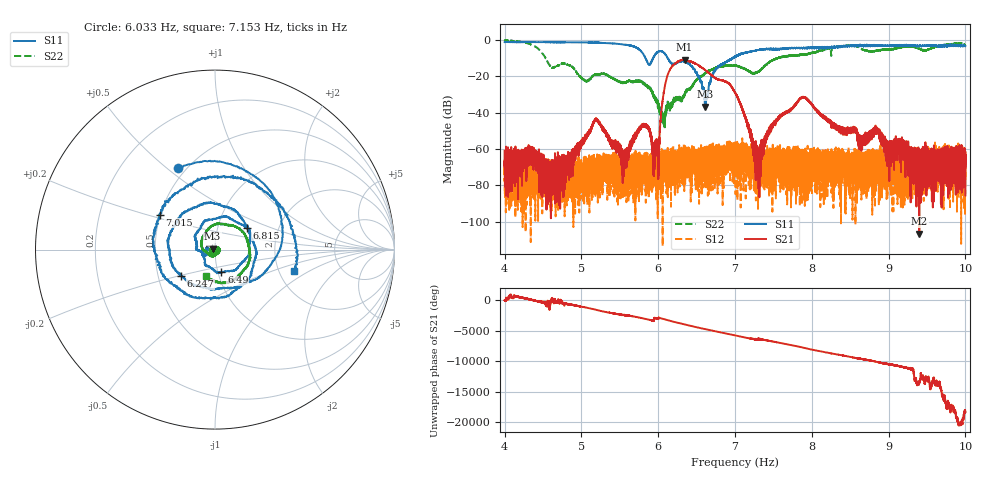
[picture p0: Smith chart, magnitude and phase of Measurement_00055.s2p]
!Created with skrf (http://scikit-rf.org).
# Hz S RI R 50.0
!freq ReS11 ImS11 ReS21 ImS21 ReS12 ImS12 ReS22 ImS22
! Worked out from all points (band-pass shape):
!   14001 points, 4 Hz to 10 Hz, reference 50 ohm
!   highest |S21| = -10.73 dB at 6.343 Hz (marker M1); lowest = -106.6 dB at 9.4 Hz (marker M2)
!   |S21| within 3 dB of the highest: 6.197 Hz to 6.52 Hz (322.8 mHz wide, 5.08 % of centre)
!   lowest |S11| = -36.7 dB at 6.61 Hz (marker M3), VSWR 1.03, Z = 48.6 + j0.484 ohm
!   |S11| at or under -10 dB: 5.835 Hz to 5.932 Hz (96.87 mHz wide, 1.65 % of centre); 5.932199 Hz to 5.932509 Hz (310.4 uHz wide, 0.00523 % of centre); 6.124 Hz to 6.962 Hz (837.5 mHz wide, 12.8 % of centre)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
!   |S22| runs from -48.0 to -0.2 dB; largest |S21 - S12| = 0.29
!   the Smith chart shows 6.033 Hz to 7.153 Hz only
!   S11 on the Smith chart (normalised r, x): 6.033 Hz: 0.45, +0.54; 6.247 Hz: 0.65, -0.20; 6.49 Hz: 1.04, -0.27; 6.815 Hz: 1.37, +0.35; 7.015 Hz: 0.49, +0.22; 7.153 Hz: 2.41, -0.74
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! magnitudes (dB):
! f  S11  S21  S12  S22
! 4 Hz  -1.1  -60.8  -70.3  -0.2
! 4.621 Hz  -1.1  -77.7  -79.0  -15.2
! 5 Hz  -1.3  -55.7  -69.4  -20.7
! 5.192 Hz  -1.4  -43.4  -67.4  -18.9
! 5.559 Hz  -2.4  -69.6  -79.3  -23.4
! 5.809 Hz  -7.9  -46.0  -65.2  -23.7
! 6 Hz  -6.4  -60.5  -66.7  -36.0
! 6.033 Hz  -6.1  -42.7  -79.1  -40.3
! 6.112 Hz  -9.0  -20.6  -63.8  -36.4
! 6.247 Hz  -12.4  -12.1  -70.6  -31.5
! 6.343 Hz  -11.7  -10.7  -66.3  -29.6
! 6.49 Hz  -17.6  -13.0  -82.2  -22.3
! 6.61 Hz  -36.7  -16.4  -69.4  -18.1
! 6.815 Hz  -13.4  -22.0  -62.3  -14.5
! 7 Hz  -9.1  -28.8  -65.3  -14.1
! 7.015 Hz  -8.7  -29.9  -60.9  -14.2
! 7.153 Hz  -6.8  -44.2  -60.4  -16.3
! 7.306 Hz  -5.4  -61.3  -65.8  -17.1
! 8 Hz  -4.4  -35.4  -64.5  -6.9
! 9 Hz  -3.1  -67.5  -72.0  -5.0
! 9.4 Hz  -3.3  -106.6  -68.7  -4.8
! 10 Hz  -3.3  -85.6  -64.3  -3.1
